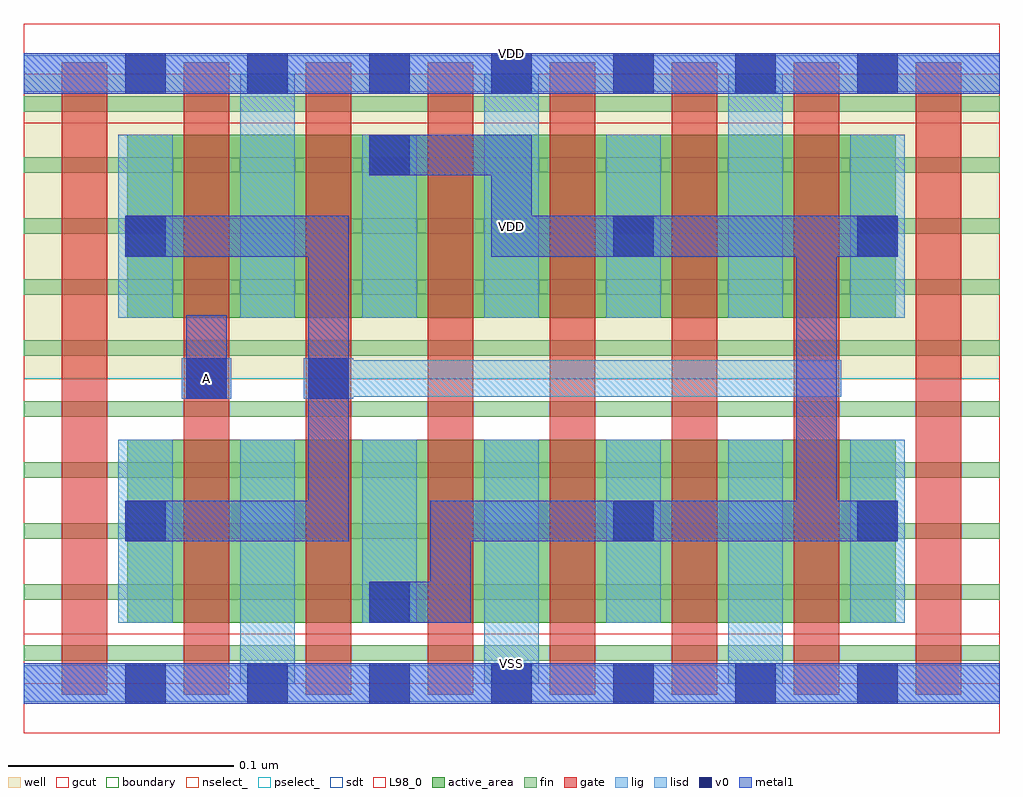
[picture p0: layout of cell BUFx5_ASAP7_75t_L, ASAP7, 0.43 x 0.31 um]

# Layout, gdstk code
import gdstk
lib = gdstk.Library(unit=1e-6, precision=2.5e-10)
def R(c, l, rs):  # rectangles x0, y0, x1, y1
    for r in rs: c.add(gdstk.rectangle(r[:2], r[2:], *l))
def A(c, l, x, y, w, h, nx, ny, dx, dy):  # array of equal rectangles
    R(c, l, [(x+i*dx, y+j*dy, x+i*dx+w, y+j*dy+h) for i in range(nx) for j in range(ny)])
def P(c, l, *ps):  # polygons
    for p in ps: c.add(gdstk.Polygon(p, *l))
well = (1, 0)
fin = (2, 0)
gate = (7, 0)
gcut = (10, 0)
active_area = (11, 0)
nselect_ = (12, 0)
pselect_ = (13, 0)
lig = (16, 0)
lisd = (17, 0)
v0 = (18, 0)
metal1 = (19, 0)
sdt = (88, 0)
L98_0 = (98, 0)
boundary = (100, 0)

bufx5_asap7_75t_l = lib.new_cell('BUFx5_ASAP7_75t_L')
R(bufx5_asap7_75t_l, well, [(0,0.135,0.432,0.27)])
A(bufx5_asap7_75t_l, fin, 0, 0.01, 0.432, 0.007, 1, 10, 0, 0.027)
A(bufx5_asap7_75t_l, gate, 0.017, -0.005, 0.02, 0.28, 8, 1, 0.054, 0)
R(bufx5_asap7_75t_l, gcut, [(0,-0.022,0.432,0.022), (0,0.248,0.432,0.292)])
R(bufx5_asap7_75t_l, active_area, [(0.046,0.027,0.386,0.108), (0.046,0.162,0.386,0.243)])
R(bufx5_asap7_75t_l, nselect_, [(0,0,0.432,0.135)])
R(bufx5_asap7_75t_l, pselect_, [(0,0.135,0.432,0.27)])
R(bufx5_asap7_75t_l, lig, [(0,-0.008,0.432,0.008), (0.07,0.126,0.092,0.144), (0.124,0.126,0.146,0.144), (0.124,0.127,0.362,0.143), (0,0.262,0.432,0.278)])
A(bufx5_asap7_75t_l, lisd, 0.042, 0.027, 0.024, 0.081, 4, 2, 0.108, 0.135)
R(bufx5_asap7_75t_l, lisd, [(0.096,0,0.12,0.108), (0.096,0,0.12,0.108), (0.204,0,0.228,0.108), (0.204,0,0.228,0.108), (0.312,0,0.336,0.108), (0.312,0,0.336,0.108), (0.096,0.162,0.12,0.27), (0.096,0.162,0.12,0.27), (0.204,0.162,0.228,0.27), (0.204,0.162,0.228,0.27), (0.312,0.162,0.336,0.27), (0.312,0.162,0.336,0.27)])
A(bufx5_asap7_75t_l, v0, 0.045, -0.009, 0.018, 0.018, 7, 2, 0.054, 0.27)
R(bufx5_asap7_75t_l, v0, [(0.153,0.027,0.171,0.045), (0.045,0.063,0.063,0.081), (0.261,0.063,0.279,0.081), (0.369,0.063,0.387,0.081), (0.072,0.126,0.09,0.144), (0.126,0.126,0.144,0.144), (0.045,0.189,0.063,0.207), (0.261,0.189,0.279,0.207), (0.369,0.189,0.387,0.207), (0.153,0.225,0.171,0.243)])
R(bufx5_asap7_75t_l, metal1, [(0,-0.009,0.432,0.009), (0.153,0.027,0.171,0.045), (0.045,0.063,0.063,0.081), (0.261,0.063,0.279,0.081), (0.369,0.063,0.387,0.081), (0.072,0.126,0.09,0.144), (0.072,0.126,0.09,0.163), (0.126,0.126,0.144,0.144), (0.045,0.189,0.063,0.207), (0.261,0.189,0.279,0.207), (0.369,0.189,0.387,0.207), (0.153,0.225,0.171,0.243), (0,0.261,0.432,0.279)])
P(bufx5_asap7_75t_l, metal1, [(0.045,0.207),(0.045,0.189),(0.126,0.189),(0.126,0.081),(0.045,0.081),(0.045,0.063),(0.144,0.063),(0.144,0.207)],
  [(0.387,0.189),(0.387,0.207),(0.225,0.207),(0.225,0.243),(0.153,0.243),(0.153,0.225),(0.207,0.225),(0.207,0.189),(0.342,0.189),(0.342,0.081),(0.18,0.081),(0.18,0.045),(0.153,0.045),(0.153,0.027),(0.198,0.027),(0.198,0.063),(0.387,0.063),(0.387,0.081),(0.36,0.081),(0.36,0.189)])
A(bufx5_asap7_75t_l, sdt, 0.096, 0.027, 0.024, 0.081, 3, 2, 0.054, 0.135)
A(bufx5_asap7_75t_l, sdt, 0.204, 0.027, 0.024, 0.081, 3, 2, 0.054, 0.135)
R(bufx5_asap7_75t_l, sdt, [(0.042,0.027,0.066,0.108), (0.096,0.027,0.12,0.108), (0.312,0.027,0.336,0.108), (0.366,0.027,0.39,0.108), (0.042,0.162,0.066,0.243), (0.096,0.162,0.12,0.243), (0.312,0.162,0.336,0.243), (0.366,0.162,0.39,0.243)])
R(bufx5_asap7_75t_l, L98_0, [(0,0,0.432,0.27)])
R(bufx5_asap7_75t_l, boundary, [(0,0,0.432,0.27)])
bufx5_asap7_75t_l.add(gdstk.Label('VDD', (0.216,0.2025), layer=1, texttype=251))
bufx5_asap7_75t_l.add(gdstk.Label('VSS', (0.216,-0.0675), layer=3, texttype=251))
bufx5_asap7_75t_l.add(gdstk.Label('VSS', (0.216,0.009), layer=19, texttype=251))
bufx5_asap7_75t_l.add(gdstk.Label('VDD', (0.216,0.279), layer=19, texttype=251))
bufx5_asap7_75t_l.add(gdstk.Label('A', (0.081,0.135), layer=19, texttype=251))
bufx5_asap7_75t_l.add(gdstk.Label('Y', (0.216,0.198), layer=19, texttype=251))

lib.write_gds('BUFx5_ASAP7_75t_L.gds')
